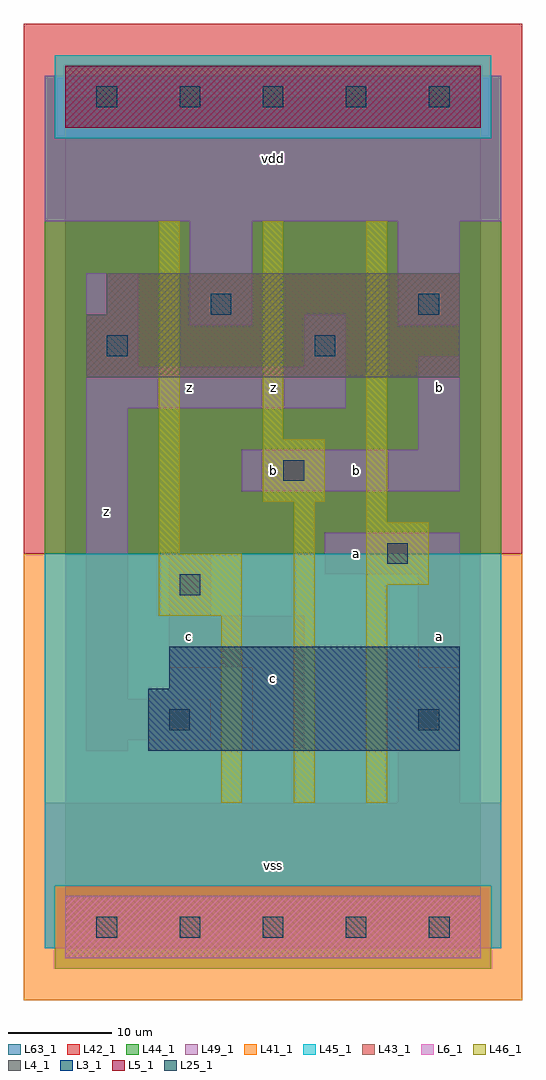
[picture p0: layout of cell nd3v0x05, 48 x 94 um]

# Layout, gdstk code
import gdstk
lib = gdstk.Library(unit=1e-6, precision=1e-09)
def R(c, l, rs):  # rectangles x0, y0, x1, y1
    for r in rs: c.add(gdstk.rectangle(r[:2], r[2:], *l))
def A(c, l, x, y, w, h, nx, ny, dx, dy):  # array of equal rectangles
    R(c, l, [(x+i*dx, y+j*dy, x+i*dx+w, y+j*dy+h) for i in range(nx) for j in range(ny)])
L3_1 = (3, 1)
L4_1 = (4, 1)
L5_1 = (5, 1)
L6_1 = (6, 1)
L25_1 = (25, 1)
L41_1 = (41, 1)
L42_1 = (42, 1)
L43_1 = (43, 1)
L44_1 = (44, 1)
L45_1 = (45, 1)
L46_1 = (46, 1)
L49_1 = (49, 1)
L63_1 = (63, 1)

nd3v0x05 = lib.new_cell('nd3v0x05')
R(nd3v0x05, L3_1, [(8,17,38,23), (10,23,38,27)])
R(nd3v0x05, L4_1, [(2,53,38,59), (4,59,38,63)])
R(nd3v0x05, L5_1, [(0,77,40,83)])
R(nd3v0x05, L6_1, [(0,-3,40,3), (0,-3,40,3)])
A(nd3v0x05, L25_1, 3, -1, 2, 2, 5, 2, 8, 80)
R(nd3v0x05, L25_1, [(10,19,12,21), (34,19,36,21), (11,32,13,34), (31,35,33,37), (21,43,23,45), (4,55,6,57), (24,55,26,57), (14,59,16,61), (34,59,36,61)])
R(nd3v0x05, L41_1, [(-4,-7,44,36)])
R(nd3v0x05, L42_1, [(-4,36,44,87)])
R(nd3v0x05, L43_1, [(0,-3,40,3), (8,17,38,23), (10,23,38,27), (2,53,38,59), (4,59,38,63), (0,77,40,83)])
R(nd3v0x05, L44_1, [(-1,-4,41,4), (-2,36,42,76), (-2,76,-1,82), (41,76,42,82)])
R(nd3v0x05, L45_1, [(-2,-2,-1,4), (41,-2,42,4), (-2,4,42,36), (-1,76,41,84)])
R(nd3v0x05, L46_1, [(15,12,17,30), (22,12,24,41), (29,12,31,33), (9,30,17,36), (29,33,35,39), (9,36,11,68), (29,39,31,68), (19,41,25,47), (19,47,21,68)])
R(nd3v0x05, L49_1, [(-2,-2,42,12), (32,12,38,22), (2,17,6,18), (18,17,23,25), (2,18,14,22), (2,22,6,50), (10,25,23,30), (34,25,38,34), (10,30,14,36), (25,34,38,38), (17,42,38,46), (34,46,38,55), (2,50,27,54), (2,54,7,63), (23,54,27,59), (12,58,18,68), (32,58,38,68), (-2,68,42,82)])
R(nd3v0x05, L63_1, [(0,0,40,80)])
nd3v0x05.add(gdstk.Label('z', (4,40), layer=49, texttype=1))
nd3v0x05.add(gdstk.Label('c', (12,28), layer=49, texttype=1))
nd3v0x05.add(gdstk.Label('z', (12,52), layer=49, texttype=1))
nd3v0x05.add(gdstk.Label('vss', (20,6), layer=49, texttype=1))
nd3v0x05.add(gdstk.Label('c', (20,24), layer=49, texttype=1))
nd3v0x05.add(gdstk.Label('a', (28,36), layer=49, texttype=1))
nd3v0x05.add(gdstk.Label('b', (28,44), layer=49, texttype=1))
nd3v0x05.add(gdstk.Label('b', (20,44), layer=49, texttype=1))
nd3v0x05.add(gdstk.Label('z', (20,52), layer=49, texttype=1))
nd3v0x05.add(gdstk.Label('vdd', (20,74), layer=49, texttype=1))
nd3v0x05.add(gdstk.Label('a', (36,28), layer=49, texttype=1))
nd3v0x05.add(gdstk.Label('b', (36,52), layer=49, texttype=1))

lib.write_gds('nd3v0x05.gds')
